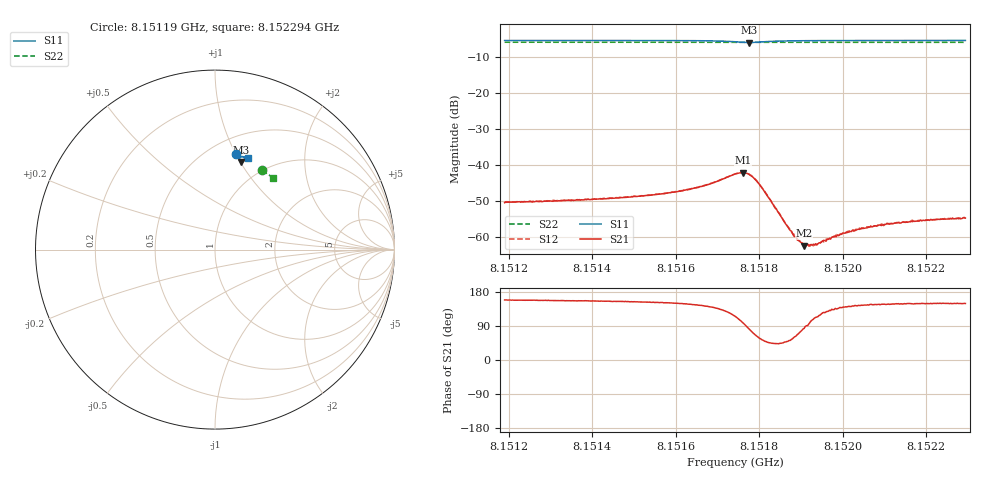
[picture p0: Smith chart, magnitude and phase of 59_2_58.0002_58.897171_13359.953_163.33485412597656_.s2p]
#  HZ  S  RI  R  50.00
! Rohde & Schwarz Vector Network Analyzer
! Rohde-Schwarz,ZNB20-2Port,1311601062101988,3.16
! Created: UTC 3/21/2024, 12:52:55 AM
! freq[Hz]  re:S11  im:S11  re:S21  im:S21  re:S12  im:S12  re:S22  im:S22
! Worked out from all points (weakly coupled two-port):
!   401 points, 8.15119 GHz to 8.152294 GHz, reference 50 ohm
!   highest |S21| = -42.14 dB at 8.151761 GHz (marker M1); lowest = -62.5 dB at 8.151908 GHz (marker M2)
!   lowest |S11| = -5.9 dB at 8.151775 GHz (marker M3), VSWR 3.08, Z = 38.3 + j50.5 ohm
!   |S11| at or under -10 dB: nowhere
!   |S22| runs from -5.8 to -5.8 dB; largest |S21 - S12| = 0.00015
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8.1511901e9  0.1184 0.5302  -0.00276 0.00109  -0.00281 0.00117  0.2635 0.4413
8.151375e9  0.1321 0.5272  -0.00299 0.00131  -0.00296 0.0014  0.2736 0.435
8.15156e9  0.1476 0.5225  -0.00344 0.00187  -0.00343 0.00193  0.2837 0.428
8.1516124e9  0.1528 0.5201  -0.00368 0.00221  -0.00369 0.00234  0.2865 0.4262
8.1516594e9  0.158 0.5164  -0.00404 0.00292  -0.00403 0.00298  0.2889 0.4242
8.1517422e9  0.1637 0.4958  -0.00322 0.00673  -0.00315 0.00679  0.293 0.4205
8.1517615e9  0.1558 0.4884  -0.00109 0.00774  -0.000983 0.00776  0.2935 0.4196
8.1517753e9  0.1465 0.4881  0.000971 0.00735  0.00107 0.00736  0.2939 0.4193
8.1517891e9  0.139 0.4931  0.00242 0.00591  0.00252 0.00595  0.2945 0.4191
8.1518029e9  0.1361 0.5006  0.00284 0.00424  0.00293 0.00425  0.2951 0.419
8.1518609e9  0.1453 0.5162  0.00107 0.00117  0.00112 0.00113  0.2985 0.4173
8.1518857e9  0.1497 0.5179  0.000478 0.000882  0.000512 0.000873  0.3 0.4162
8.1518968e9  0.1515 0.518  0.000261 0.00082  0.000293 0.000831  0.3006 0.416
8.1519078e9  0.1532 0.5182  8.52e-05 0.000742  0.000121 0.000781  0.3011 0.4154
8.1519271e9  0.1556 0.5185  -0.000202 0.000725  -0.00017 0.00075  0.3023 0.4146
8.1519437e9  0.1575 0.5184  -0.000379 0.000728  -0.00041 0.000718  0.3032 0.414
8.1519823e9  0.1617 0.518  -0.000728 0.0007  -0.000695 0.000712  0.3052 0.4124
8.1520155e9  0.1649 0.5175  -0.000907 0.000717  -0.000913 0.000762  0.3069 0.4111
8.1520403e9  0.1671 0.517  -0.00102 0.000742  -0.00106 0.000774  0.3082 0.4102
8.1521121e9  0.1731 0.5157  -0.00124 0.000815  -0.00127 0.00083  0.3117 0.4073
8.1521701e9  0.1776 0.5145  -0.00139 0.000875  -0.00138 0.000863  0.3148 0.4048
8.1522943e9  0.1866 0.5117  -0.00155 0.00093  -0.00155 0.000959  0.321 0.3997
